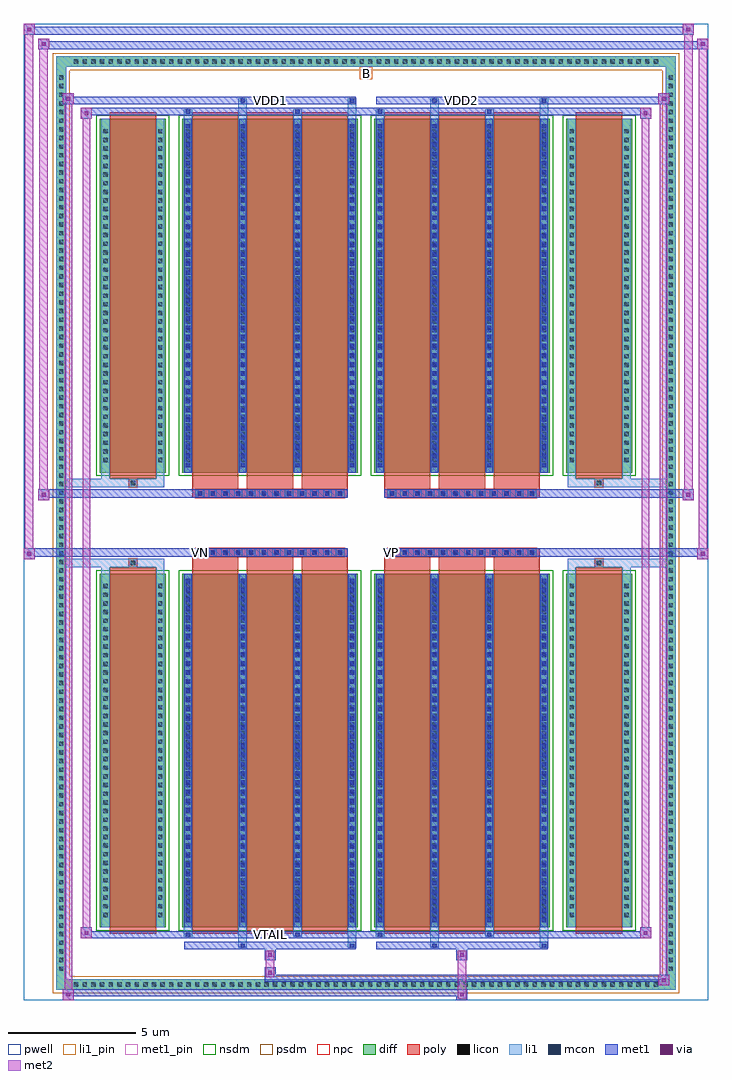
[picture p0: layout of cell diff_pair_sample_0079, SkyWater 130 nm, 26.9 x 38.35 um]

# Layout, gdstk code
import gdstk
lib = gdstk.Library(unit=1e-6, precision=5e-09)
def R(c, l, rs):  # rectangles x0, y0, x1, y1
    for r in rs: c.add(gdstk.rectangle(r[:2], r[2:], *l))
def A(c, l, x, y, w, h, nx, ny, dx, dy):  # array of equal rectangles
    R(c, l, [(x+i*dx, y+j*dy, x+i*dx+w, y+j*dy+h) for i in range(nx) for j in range(ny)])
def P(c, l, *ps):  # polygons
    for p in ps: c.add(gdstk.Polygon(p, *l))
pwell = (64, 44)
diff = (65, 20)
poly = (66, 20)
licon = (66, 44)
li1_pin = (67, 16)
li1 = (67, 20)
mcon = (67, 44)
met1_pin = (68, 16)
met1 = (68, 20)
via = (68, 44)
met2 = (69, 20)
nsdm = (93, 44)
psdm = (94, 20)
npc = (95, 20)

diff_pair_sample_0079 = lib.new_cell('diff_pair_sample_0079')
R(diff_pair_sample_0079, pwell, [(-13.45,-18.74,13.45,19.61), (-10.77,-16.93,-0.01,-0.795), (0.01,-16.93,10.77,-0.795), (-10.77,0.795,-0.01,16.93), (0.01,0.795,10.77,16.93)])
A(diff_pair_sample_0079, diff, -11.595, -18.34, 0.41, 0.41, 68, 2, 0.34, 36.27)
A(diff_pair_sample_0079, diff, -12.18, -17.715, 0.41, 0.41, 1, 104, 0, 0.34)
A(diff_pair_sample_0079, diff, 11.77, -17.715, 0.41, 0.41, 1, 104, 0, 0.34)
R(diff_pair_sample_0079, diff, [(-11.595,-18.34,11.595,-17.93), (-12.18,-17.715,-11.77,17.715), (11.77,-17.715,12.18,17.715), (-10.46,-15.885,-7.86,-1.985), (-7.22,-15.885,-0.32,-1.985), (0.32,-15.885,7.22,-1.985), (7.86,-15.885,10.46,-1.985), (-10.46,1.985,-7.86,15.885), (-7.22,1.985,-0.32,15.885), (0.32,1.985,7.22,15.885), (7.86,1.985,10.46,15.885), (-11.595,17.93,11.595,18.34)])
P(diff_pair_sample_0079, diff, [(12.18,18.34),(-12.18,18.34),(-12.18,-17.93),(-11.77,-17.93),(-11.77,17.93),(11.77,17.93),(11.77,-17.93),(-11.77,-17.93),(-12.18,-17.93),(-12.18,-18.34),(12.18,-18.34)])
A(diff_pair_sample_0079, poly, -6.83, -16.135, 1.82, 14.4, 3, 2, 2.15, 17.87)
A(diff_pair_sample_0079, poly, 0.71, -16.135, 1.82, 14.4, 3, 2, 2.15, 17.87)
A(diff_pair_sample_0079, poly, -6.83, -1.735, 1.82, 0.41, 3, 2, 2.15, 3.06)
A(diff_pair_sample_0079, poly, 0.71, -1.735, 1.82, 0.41, 3, 2, 2.15, 3.06)
A(diff_pair_sample_0079, poly, -6.685, -1.325, 0.33, 0.33, 12, 2, 0.5, 2.32)
A(diff_pair_sample_0079, poly, 0.855, -1.325, 0.33, 0.33, 12, 2, 0.5, 2.32)
R(diff_pair_sample_0079, poly, [(-10.07,-16.135,-8.25,-1.735), (8.25,-16.135,10.07,-1.735), (-9.325,-1.735,-8.995,-1.405), (-9.325,-1.735,-8.995,-1.405), (8.995,-1.735,9.325,-1.405), (8.995,-1.735,9.325,-1.405), (-6.83,-1.325,-0.71,-0.995), (0.71,-1.325,6.83,-0.995), (-6.83,0.995,-0.71,1.325), (0.71,0.995,6.83,1.325), (-9.325,1.405,-8.995,1.735), (-9.325,1.405,-8.995,1.735), (8.995,1.405,9.325,1.735), (8.995,1.405,9.325,1.735), (-10.07,1.735,-8.25,16.135), (8.25,1.735,10.07,16.135)])
A(diff_pair_sample_0079, licon, -11.475, -18.22, 0.17, 0.17, 68, 2, 0.34, 36.27)
A(diff_pair_sample_0079, licon, -12.06, -17.595, 0.17, 0.17, 1, 104, 0, 0.34)
A(diff_pair_sample_0079, licon, 11.89, -17.595, 0.17, 0.17, 1, 104, 0, 0.34)
A(diff_pair_sample_0079, licon, -10.32, -15.48, 0.17, 0.17, 1, 39, 0, 0.34)
A(diff_pair_sample_0079, licon, -8.17, -15.48, 0.17, 0.17, 1, 39, 0, 0.34)
A(diff_pair_sample_0079, licon, -7.08, -15.48, 0.17, 0.17, 4, 39, 2.15, 0.34)
A(diff_pair_sample_0079, licon, 0.46, -15.48, 0.17, 0.17, 4, 39, 2.15, 0.34)
A(diff_pair_sample_0079, licon, 8, -15.48, 0.17, 0.17, 1, 39, 0, 0.34)
A(diff_pair_sample_0079, licon, 10.15, -15.48, 0.17, 0.17, 1, 39, 0, 0.34)
A(diff_pair_sample_0079, licon, -6.605, -1.245, 0.17, 0.17, 12, 2, 0.5, 2.32)
A(diff_pair_sample_0079, licon, 0.935, -1.245, 0.17, 0.17, 12, 2, 0.5, 2.32)
A(diff_pair_sample_0079, licon, -10.32, 2.39, 0.17, 0.17, 1, 39, 0, 0.34)
A(diff_pair_sample_0079, licon, -8.17, 2.39, 0.17, 0.17, 1, 39, 0, 0.34)
A(diff_pair_sample_0079, licon, -7.08, 2.39, 0.17, 0.17, 4, 39, 2.15, 0.34)
A(diff_pair_sample_0079, licon, 0.46, 2.39, 0.17, 0.17, 4, 39, 2.15, 0.34)
A(diff_pair_sample_0079, licon, 8, 2.39, 0.17, 0.17, 1, 39, 0, 0.34)
A(diff_pair_sample_0079, licon, 10.15, 2.39, 0.17, 0.17, 1, 39, 0, 0.34)
R(diff_pair_sample_0079, licon, [(-9.245,-1.655,-9.075,-1.485), (9.075,-1.655,9.245,-1.485), (-9.245,1.485,-9.075,1.655), (9.075,1.485,9.245,1.655)])
R(diff_pair_sample_0079, li1_pin, [(-0.25,17.43,0.25,17.93)])
A(diff_pair_sample_0079, li1, -11.555, -18.3, 0.33, 0.33, 68, 2, 0.34, 36.27)
A(diff_pair_sample_0079, li1, -12.14, -17.675, 0.33, 0.33, 1, 104, 0, 0.34)
A(diff_pair_sample_0079, li1, 11.81, -17.675, 0.33, 0.33, 1, 104, 0, 0.34)
A(diff_pair_sample_0079, li1, -7.16, -15.885, 0.33, 13.9, 4, 2, 2.15, 17.87)
A(diff_pair_sample_0079, li1, 0.38, -15.885, 0.33, 13.9, 4, 2, 2.15, 17.87)
A(diff_pair_sample_0079, li1, -7.08, -15.68, 0.17, 0.17, 4, 38, 2.15, 0.36)
A(diff_pair_sample_0079, li1, -7.08, -15.68, 0.17, 13.49, 4, 2, 2.15, 17.87)
A(diff_pair_sample_0079, li1, 0.46, -15.68, 0.17, 0.17, 4, 38, 2.15, 0.36)
A(diff_pair_sample_0079, li1, 0.46, -15.68, 0.17, 13.49, 4, 2, 2.15, 17.87)
A(diff_pair_sample_0079, li1, -10.4, -15.56, 0.33, 0.33, 1, 39, 0, 0.34)
A(diff_pair_sample_0079, li1, -8.25, -15.56, 0.33, 0.33, 1, 39, 0, 0.34)
A(diff_pair_sample_0079, li1, -7.16, -15.56, 0.33, 0.33, 4, 39, 2.15, 0.34)
A(diff_pair_sample_0079, li1, 0.38, -15.56, 0.33, 0.33, 4, 39, 2.15, 0.34)
A(diff_pair_sample_0079, li1, 7.92, -15.56, 0.33, 0.33, 1, 39, 0, 0.34)
A(diff_pair_sample_0079, li1, 10.07, -15.56, 0.33, 0.33, 1, 39, 0, 0.34)
A(diff_pair_sample_0079, li1, -6.685, -1.325, 0.33, 0.33, 12, 2, 0.5, 2.32)
A(diff_pair_sample_0079, li1, 0.855, -1.325, 0.33, 0.33, 12, 2, 0.5, 2.32)
A(diff_pair_sample_0079, li1, -7.08, 2.19, 0.17, 0.17, 4, 38, 2.15, 0.36)
A(diff_pair_sample_0079, li1, 0.46, 2.19, 0.17, 0.17, 4, 38, 2.15, 0.36)
A(diff_pair_sample_0079, li1, -10.4, 2.31, 0.33, 0.33, 1, 39, 0, 0.34)
A(diff_pair_sample_0079, li1, -8.25, 2.31, 0.33, 0.33, 1, 39, 0, 0.34)
A(diff_pair_sample_0079, li1, -7.16, 2.31, 0.33, 0.33, 4, 39, 2.15, 0.34)
A(diff_pair_sample_0079, li1, 0.38, 2.31, 0.33, 0.33, 4, 39, 2.15, 0.34)
A(diff_pair_sample_0079, li1, 7.92, 2.31, 0.33, 0.33, 1, 39, 0, 0.34)
A(diff_pair_sample_0079, li1, 10.07, 2.31, 0.33, 0.33, 1, 39, 0, 0.34)
R(diff_pair_sample_0079, li1, [(-12.18,-18.34,-11.77,-17.93), (-12.18,-18.34,-11.77,-17.93), (-11.77,-18.34,11.77,-17.93), (11.77,-18.34,12.18,-17.93), (11.77,-18.34,12.18,-17.93), (-12.18,-17.93,-11.77,17.93), (11.77,-17.93,12.18,17.93), (-5.01,-16.69,-4.68,-15.885), (-4.93,-16.69,-4.76,-16.52), (-0.71,-16.69,-0.38,-15.885), (-0.63,-16.69,-0.46,-16.52), (2.53,-16.69,2.86,-15.885), (2.61,-16.69,2.78,-16.52), (6.83,-16.69,7.16,-15.885), (6.91,-16.69,7.08,-16.52), (-7.16,-16.26,-6.83,-15.885), (-7.08,-16.26,-6.91,-16.09), (-2.86,-16.26,-2.53,-15.885), (-2.78,-16.26,-2.61,-16.09), (0.38,-16.26,0.71,-15.885), (0.46,-16.26,0.63,-16.09), (4.68,-16.26,5.01,-15.885), (4.76,-16.26,4.93,-16.09), (-10.4,-15.885,-10.07,-1.985), (-8.25,-15.885,-7.92,-1.985), (7.92,-15.885,8.25,-1.985), (10.07,-15.885,10.4,-1.985), (-10.4,-1.985,-10.07,-1.405), (-8.25,-1.985,-7.92,-1.405), (7.92,-1.985,8.25,-1.405), (10.07,-1.985,10.4,-1.405), (-12.18,-1.735,-9.325,-1.405), (-10.4,-1.735,-9.325,-1.405), (-9.325,-1.735,-8.995,-1.405), (-8.995,-1.735,-7.92,-1.405), (7.92,-1.735,8.995,-1.405), (8.995,-1.735,9.325,-1.405), (8.995,-1.735,12.18,-1.405), (9.325,-1.735,10.4,-1.405), (-12.18,1.405,-9.325,1.735), (-10.4,1.405,-9.325,1.735), (-10.4,1.405,-10.07,1.985), (-9.325,1.405,-8.995,1.735), (-8.995,1.405,-7.92,1.735), (-8.25,1.405,-7.92,1.985), (7.92,1.405,8.995,1.735), (7.92,1.405,8.25,1.985), (8.995,1.405,9.325,1.735), (8.995,1.405,12.18,1.735), (9.325,1.405,10.4,1.735), (10.07,1.405,10.4,1.985), (-10.4,1.985,-10.07,15.885), (-8.25,1.985,-7.92,15.885), (7.92,1.985,8.25,15.885), (10.07,1.985,10.4,15.885), (-7.16,15.885,-6.83,16.26), (-5.01,15.885,-4.68,16.69), (-2.86,15.885,-2.53,16.26), (-0.71,15.885,-0.38,16.69), (0.38,15.885,0.71,16.26), (2.53,15.885,2.86,16.69), (4.68,15.885,5.01,16.26), (6.83,15.885,7.16,16.69), (-7.08,16.09,-6.91,16.26), (-2.78,16.09,-2.61,16.26), (0.46,16.09,0.63,16.26), (4.76,16.09,4.93,16.26), (-4.93,16.52,-4.76,16.69), (-0.63,16.52,-0.46,16.69), (2.61,16.52,2.78,16.69), (6.91,16.52,7.08,16.69), (-12.18,17.93,-11.77,18.34), (-12.18,17.93,-11.77,18.34), (-11.77,17.93,11.77,18.34), (11.77,17.93,12.18,18.34), (11.77,17.93,12.18,18.34)])
A(diff_pair_sample_0079, mcon, -7.08, -15.68, 0.17, 0.17, 4, 38, 2.15, 0.36)
A(diff_pair_sample_0079, mcon, 0.46, -15.68, 0.17, 0.17, 4, 38, 2.15, 0.36)
A(diff_pair_sample_0079, mcon, -6.605, -1.245, 0.17, 0.17, 12, 2, 0.5, 2.32)
A(diff_pair_sample_0079, mcon, 0.935, -1.245, 0.17, 0.17, 12, 2, 0.5, 2.32)
A(diff_pair_sample_0079, mcon, -7.08, 2.19, 0.17, 0.17, 4, 38, 2.15, 0.36)
A(diff_pair_sample_0079, mcon, 0.46, 2.19, 0.17, 0.17, 4, 38, 2.15, 0.36)
R(diff_pair_sample_0079, mcon, [(-4.93,-16.69,-4.76,-16.52), (-0.63,-16.69,-0.46,-16.52), (2.61,-16.69,2.78,-16.52), (6.91,-16.69,7.08,-16.52), (-7.08,-16.26,-6.91,-16.09), (-2.78,-16.26,-2.61,-16.09), (0.46,-16.26,0.63,-16.09), (4.76,-16.26,4.93,-16.09), (-7.08,16.09,-6.91,16.26), (-2.78,16.09,-2.61,16.26), (0.46,16.09,0.63,16.26), (4.76,16.09,4.93,16.26), (-4.93,16.52,-4.76,16.69), (-0.63,16.52,-0.46,16.69), (2.61,16.52,2.78,16.69), (6.91,16.52,7.08,16.69)])
R(diff_pair_sample_0079, met1_pin, [(-3.905,-16.3,-3.635,-16.03), (-6.655,-1.285,-6.385,-1.015), (0.885,-1.285,1.155,-1.015), (-3.905,16.48,-3.635,16.75), (3.635,16.48,3.905,16.75)])
A(diff_pair_sample_0079, met1, -7.14, -15.885, 0.29, 13.9, 4, 2, 2.15, 17.87)
A(diff_pair_sample_0079, met1, 0.4, -15.885, 0.29, 13.9, 4, 2, 2.15, 17.87)
A(diff_pair_sample_0079, met1, -7.14, -15.74, 0.29, 0.29, 4, 38, 2.15, 0.36)
A(diff_pair_sample_0079, met1, 0.4, -15.74, 0.29, 0.29, 4, 38, 2.15, 0.36)
A(diff_pair_sample_0079, met1, -6.665, -1.305, 0.29, 0.29, 12, 2, 0.5, 2.32)
A(diff_pair_sample_0079, met1, 0.875, -1.305, 0.29, 0.29, 12, 2, 0.5, 2.32)
A(diff_pair_sample_0079, met1, -7.14, 2.13, 0.29, 0.29, 4, 38, 2.15, 0.36)
A(diff_pair_sample_0079, met1, 0.4, 2.13, 0.29, 0.29, 4, 38, 2.15, 0.36)
R(diff_pair_sample_0079, met1, [(-11.91,-18.74,-11.48,-18.31), (3.555,-18.74,3.985,-18.31), (-11.91,-18.6,3.985,-18.31), (11.48,-18.17,11.91,-17.74), (-3.985,-18.03,11.91,-17.74), (-3.985,-17.89,-3.555,-17.46), (-3.985,-17.18,-3.555,-16.75), (3.555,-17.18,3.985,-16.75), (-7.14,-16.75,-0.4,-16.46), (-4.99,-16.75,-4.7,-16.46), (-0.69,-16.75,-0.4,-16.46), (0.4,-16.75,7.14,-16.46), (2.55,-16.75,2.84,-16.46), (6.85,-16.75,7.14,-16.46), (-11.2,-16.32,-10.77,-15.89), (-11.2,-16.32,-7.14,-16.03), (-7.14,-16.32,-6.85,-16.03), (-7.14,-16.32,-0.4,-16.03), (-2.84,-16.32,-2.55,-16.03), (-0.4,-16.32,0.4,-16.03), (0.4,-16.32,0.69,-16.03), (0.4,-16.32,7.14,-16.03), (4.7,-16.32,4.99,-16.03), (7.14,-16.32,11.2,-16.03), (10.77,-16.32,11.2,-15.89), (-13.45,-1.425,-13.02,-0.995), (13.02,-1.425,13.45,-0.995), (-13.45,-1.325,-0.71,-0.995), (-6.83,-1.325,-0.71,-0.995), (0.71,-1.325,6.83,-0.995), (0.71,-1.325,13.45,-0.995), (-12.88,0.895,-12.45,1.325), (12.45,0.895,12.88,1.325), (-12.88,0.995,-6.83,1.325), (-6.83,0.995,-0.71,1.325), (0.71,0.995,6.83,1.325), (6.83,0.995,12.88,1.325), (-11.2,15.89,-10.77,16.32), (10.77,15.89,11.2,16.32), (-11.2,16.03,-7.14,16.32), (-7.14,16.03,-6.85,16.32), (-7.14,16.03,-0.4,16.32), (-2.84,16.03,-2.55,16.32), (-0.4,16.03,0.4,16.32), (0.4,16.03,0.69,16.32), (0.4,16.03,7.14,16.32), (4.7,16.03,4.99,16.32), (7.14,16.03,11.2,16.32), (-11.91,16.46,-11.48,16.89), (-11.91,16.46,-7.14,16.75), (-7.14,16.46,-0.4,16.75), (-4.99,16.46,-4.7,16.75), (-0.69,16.46,-0.4,16.75), (0.4,16.46,7.14,16.75), (2.55,16.46,2.84,16.75), (6.85,16.46,7.14,16.75), (7.14,16.46,11.91,16.75), (11.48,16.46,11.91,16.89), (-12.88,18.61,-12.45,19.04), (-12.88,18.61,-10.77,18.94), (-10.77,18.61,10.77,18.94), (10.77,18.61,13.45,18.94), (13.02,18.61,13.45,19.04), (-13.45,19.18,-13.02,19.61), (-13.45,19.18,-10.77,19.51), (-10.77,19.18,10.77,19.51), (10.77,19.18,12.88,19.51), (12.45,19.18,12.88,19.61)])
R(diff_pair_sample_0079, via, [(-11.77,-18.6,-11.62,-18.45), (3.695,-18.6,3.845,-18.45), (11.62,-18.03,11.77,-17.88), (-3.845,-17.75,-3.695,-17.6), (-3.845,-17.04,-3.695,-16.89), (3.695,-17.04,3.845,-16.89), (-11.06,-16.18,-10.91,-16.03), (10.91,-16.18,11.06,-16.03), (-13.31,-1.285,-13.16,-1.135), (13.16,-1.285,13.31,-1.135), (-12.74,1.035,-12.59,1.185), (12.59,1.035,12.74,1.185), (-11.06,16.03,-10.91,16.18), (10.91,16.03,11.06,16.18), (-11.77,16.6,-11.62,16.75), (11.62,16.6,11.77,16.75), (-12.74,18.75,-12.59,18.9), (13.16,18.75,13.31,18.9), (-13.31,19.32,-13.16,19.47), (12.59,19.32,12.74,19.47)])
R(diff_pair_sample_0079, met2, [(-11.91,-18.74,-11.48,-18.31), (-11.84,-18.74,-11.55,16.89), (-11.55,-18.74,-11.48,-18.31), (-11.86,-18.69,-11.53,-18.36), (3.605,-18.69,3.935,-18.36), (3.605,-18.36,3.935,-17.13), (11.48,-18.17,11.91,-17.74), (11.55,-18.17,11.84,16.89), (11.84,-18.17,11.91,-17.74), (11.53,-18.12,11.86,-17.79), (-3.935,-17.84,-3.605,-17.51), (-3.935,-17.51,-3.605,-17.13), (-3.935,-17.13,-3.605,-16.8), (3.605,-17.13,3.935,-16.8), (-11.2,-16.32,-10.77,-15.89), (-11.13,-16.32,-10.84,16.32), (-10.84,-16.32,-10.77,-15.89), (10.77,-16.32,11.2,-15.89), (10.84,-16.32,11.13,16.32), (11.13,-16.32,11.2,-15.89), (-11.15,-16.27,-10.82,-15.94), (10.82,-16.27,11.15,-15.94), (-13.45,-1.425,-13.02,-0.995), (-13.4,-1.425,-13.07,19.61), (-13.07,-1.425,-13.02,-0.995), (13.02,-1.425,13.45,-0.995), (13.07,-1.425,13.4,19.04), (13.4,-1.425,13.45,-0.995), (-13.4,-1.375,-13.07,-1.045), (13.07,-1.375,13.4,-1.045), (-12.88,0.895,-12.45,1.325), (-12.83,0.895,-12.5,19.04), (-12.5,0.895,-12.45,1.325), (12.45,0.895,12.88,1.325), (12.5,0.895,12.83,19.61), (12.83,0.895,12.88,1.325), (-12.83,0.945,-12.5,1.275), (12.5,0.945,12.83,1.275), (-11.2,15.89,-10.77,16.32), (-10.84,15.89,-10.77,16.32), (10.77,15.89,11.2,16.32), (11.13,15.89,11.2,16.32), (-11.15,15.94,-10.82,16.27), (10.82,15.94,11.15,16.27), (-11.91,16.46,-11.48,16.89), (-11.55,16.46,-11.48,16.89), (11.48,16.46,11.91,16.89), (11.84,16.46,11.91,16.89), (-11.86,16.51,-11.53,16.84), (11.53,16.51,11.86,16.84), (-12.88,18.61,-12.45,19.04), (-12.5,18.61,-12.45,19.04), (13.02,18.61,13.45,19.04), (13.4,18.61,13.45,19.04), (-12.83,18.66,-12.5,18.99), (13.07,18.66,13.4,18.99), (-13.45,19.18,-13.02,19.61), (-13.07,19.18,-13.02,19.61), (12.45,19.18,12.88,19.61), (12.83,19.18,12.88,19.61), (-13.4,19.23,-13.07,19.56), (12.5,19.23,12.83,19.56)])
R(diff_pair_sample_0079, nsdm, [(-10.59,-16.015,-7.73,-1.855), (-7.35,-16.015,-0.19,-1.855), (0.19,-16.015,7.35,-1.855), (7.73,-16.015,10.59,-1.855), (-10.59,1.855,-7.73,16.015), (-7.35,1.855,-0.19,16.015), (0.19,1.855,7.35,16.015), (7.73,1.855,10.59,16.015)])
P(diff_pair_sample_0079, psdm, [(12.31,18.47),(-12.31,18.47),(-12.31,-17.8),(-11.64,-17.8),(-11.64,17.8),(11.64,17.8),(11.64,-17.8),(-11.64,-17.8),(-12.31,-17.8),(-12.31,-18.47),(12.31,-18.47)])
A(diff_pair_sample_0079, npc, -6.705, -1.345, 0.37, 0.37, 12, 2, 0.5, 2.32)
A(diff_pair_sample_0079, npc, 0.835, -1.345, 0.37, 0.37, 12, 2, 0.5, 2.32)
R(diff_pair_sample_0079, npc, [(-9.345,-1.755,-8.975,-1.385), (8.975,-1.755,9.345,-1.385), (-6.705,-1.345,-5.835,-0.975), (-6.705,-1.345,-5.835,-0.975), (-6.205,-1.345,-5.335,-0.975), (-6.205,-1.345,-5.335,-0.975), (-5.705,-1.345,-4.835,-0.975), (-5.705,-1.345,-4.835,-0.975), (-5.205,-1.345,-4.335,-0.975), (-5.205,-1.345,-4.335,-0.975), (-4.705,-1.345,-3.835,-0.975), (-4.705,-1.345,-3.835,-0.975), (-4.205,-1.345,-3.335,-0.975), (-4.205,-1.345,-3.335,-0.975), (-3.705,-1.345,-2.835,-0.975), (-3.705,-1.345,-2.835,-0.975), (-3.205,-1.345,-2.335,-0.975), (-3.205,-1.345,-2.335,-0.975), (-2.705,-1.345,-1.835,-0.975), (-2.705,-1.345,-1.835,-0.975), (-2.205,-1.345,-1.335,-0.975), (-2.205,-1.345,-1.335,-0.975), (-1.705,-1.345,-0.835,-0.975), (-1.705,-1.345,-0.835,-0.975), (0.835,-1.345,1.705,-0.975), (0.835,-1.345,1.705,-0.975), (1.335,-1.345,2.205,-0.975), (1.335,-1.345,2.205,-0.975), (1.835,-1.345,2.705,-0.975), (1.835,-1.345,2.705,-0.975), (2.335,-1.345,3.205,-0.975), (2.335,-1.345,3.205,-0.975), (2.835,-1.345,3.705,-0.975), (2.835,-1.345,3.705,-0.975), (3.335,-1.345,4.205,-0.975), (3.335,-1.345,4.205,-0.975), (3.835,-1.345,4.705,-0.975), (3.835,-1.345,4.705,-0.975), (4.335,-1.345,5.205,-0.975), (4.335,-1.345,5.205,-0.975), (4.835,-1.345,5.705,-0.975), (4.835,-1.345,5.705,-0.975), (5.335,-1.345,6.205,-0.975), (5.335,-1.345,6.205,-0.975), (5.835,-1.345,6.705,-0.975), (5.835,-1.345,6.705,-0.975), (-6.705,0.975,-5.835,1.345), (-6.705,0.975,-5.835,1.345), (-6.205,0.975,-5.335,1.345), (-6.205,0.975,-5.335,1.345), (-5.705,0.975,-4.835,1.345), (-5.705,0.975,-4.835,1.345), (-5.205,0.975,-4.335,1.345), (-5.205,0.975,-4.335,1.345), (-4.705,0.975,-3.835,1.345), (-4.705,0.975,-3.835,1.345), (-4.205,0.975,-3.335,1.345), (-4.205,0.975,-3.335,1.345), (-3.705,0.975,-2.835,1.345), (-3.705,0.975,-2.835,1.345), (-3.205,0.975,-2.335,1.345), (-3.205,0.975,-2.335,1.345), (-2.705,0.975,-1.835,1.345), (-2.705,0.975,-1.835,1.345), (-2.205,0.975,-1.335,1.345), (-2.205,0.975,-1.335,1.345), (-1.705,0.975,-0.835,1.345), (-1.705,0.975,-0.835,1.345), (0.835,0.975,1.705,1.345), (0.835,0.975,1.705,1.345), (1.335,0.975,2.205,1.345), (1.335,0.975,2.205,1.345), (1.835,0.975,2.705,1.345), (1.835,0.975,2.705,1.345), (2.335,0.975,3.205,1.345), (2.335,0.975,3.205,1.345), (2.835,0.975,3.705,1.345), (2.835,0.975,3.705,1.345), (3.335,0.975,4.205,1.345), (3.335,0.975,4.205,1.345), (3.835,0.975,4.705,1.345), (3.835,0.975,4.705,1.345), (4.335,0.975,5.205,1.345), (4.335,0.975,5.205,1.345), (4.835,0.975,5.705,1.345), (4.835,0.975,5.705,1.345), (5.335,0.975,6.205,1.345), (5.335,0.975,6.205,1.345), (5.835,0.975,6.705,1.345), (5.835,0.975,6.705,1.345), (-9.345,1.385,-8.975,1.755), (8.975,1.385,9.345,1.755)])
diff_pair_sample_0079.add(gdstk.Label('VTAIL', (-3.77,-16.165), layer=68, texttype=5))
diff_pair_sample_0079.add(gdstk.Label('VN', (-6.52,-1.15), layer=68, texttype=5))
diff_pair_sample_0079.add(gdstk.Label('VP', (1.02,-1.15), layer=68, texttype=5))
diff_pair_sample_0079.add(gdstk.Label('B', (0,17.68), layer=67, texttype=5))
diff_pair_sample_0079.add(gdstk.Label('VDD2', (3.77,16.615), layer=68, texttype=5))
diff_pair_sample_0079.add(gdstk.Label('VDD1', (-3.77,16.615), layer=68, texttype=5))

lib.write_gds('diff_pair_sample_0079.gds')
